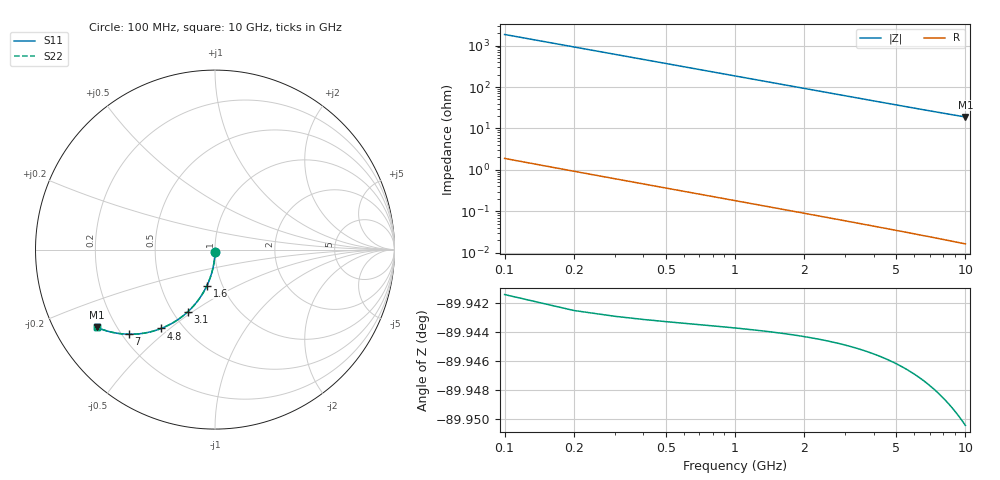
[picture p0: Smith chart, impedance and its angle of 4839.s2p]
# Hz S RI R 50.00
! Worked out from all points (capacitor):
!   100 points, 100 MHz to 10 GHz, reference 50 ohm
!   read as one part in shunt: C = 860 fF near 100 MHz
!   lowest |Z| = 19 ohm at 10 GHz (marker M1)
!   S11 on the Smith chart (normalised r, x): 100 MHz: 1.00, -0.03; 1.6 GHz: 0.85, -0.35; 3.1 GHz: 0.59, -0.48; 4.8 GHz: 0.38, -0.47; 7 GHz: 0.23, -0.39; 10 GHz: 0.13, -0.30
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1e8  -0.000115 -0.0131  0.9997 -0.0139  0.9997 -0.0139  -0.000115 -0.0131
2e8  -0.000673 -0.0262  0.9992 -0.0277  0.9992 -0.0277  -0.000673 -0.0262
3e8  -0.00159 -0.0393  0.9982 -0.0416  0.9982 -0.0416  -0.00159 -0.0393
4e8  -0.00288 -0.0523  0.997 -0.0554  0.997 -0.0554  -0.00288 -0.0523
5e8  -0.00452 -0.0653  0.9953 -0.0691  0.9953 -0.0691  -0.00452 -0.0653
6e8  -0.00651 -0.0782  0.9933 -0.0828  0.9933 -0.0828  -0.00651 -0.0782
7e8  -0.00886 -0.091  0.991 -0.0964  0.991 -0.0964  -0.00886 -0.091
9e8  -0.0146 -0.1164  0.9852 -0.1232  0.9852 -0.1232  -0.0146 -0.1164
1.2e9  -0.0257 -0.1534  0.9741 -0.1626  0.9741 -0.1626  -0.0257 -0.1534
1.6e9  -0.0448 -0.2005  0.9549 -0.2128  0.9549 -0.2128  -0.0448 -0.2005
1.8e9  -0.0561 -0.223  0.9436 -0.2367  0.9436 -0.2367  -0.0561 -0.223
2.4e9  -0.0957 -0.2847  0.9039 -0.3032  0.9039 -0.3032  -0.0957 -0.2847
3.1e9  -0.1505 -0.3453  0.849 -0.3692  0.849 -0.3692  -0.1505 -0.3453
3.4e9  -0.1759 -0.3673  0.8236 -0.3935  0.8236 -0.3935  -0.1759 -0.3673
4.1e9  -0.2375 -0.4094  0.7618 -0.4411  0.7618 -0.4411  -0.2375 -0.4094
4.8e9  -0.3 -0.4393  0.6991 -0.4766  0.6991 -0.4766  -0.3 -0.4393
5.1e9  -0.3264 -0.4487  0.6726 -0.4884  0.6726 -0.4884  -0.3264 -0.4487
5.9e9  -0.3945 -0.4653  0.6042 -0.5114  0.6042 -0.5114  -0.3945 -0.4653
6.7e9  -0.4579 -0.4715  0.5406 -0.5241  0.5406 -0.5241  -0.4579 -0.4715
7e9  -0.4801 -0.4716  0.5181 -0.5267  0.5181 -0.5267  -0.4801 -0.4716
8.4e9  -0.573 -0.4606  0.4245 -0.5273  0.4245 -0.5273  -0.573 -0.4606
1e10  -0.6578 -0.4332  0.3387 -0.5135  0.3387 -0.5135  -0.6578 -0.4332
